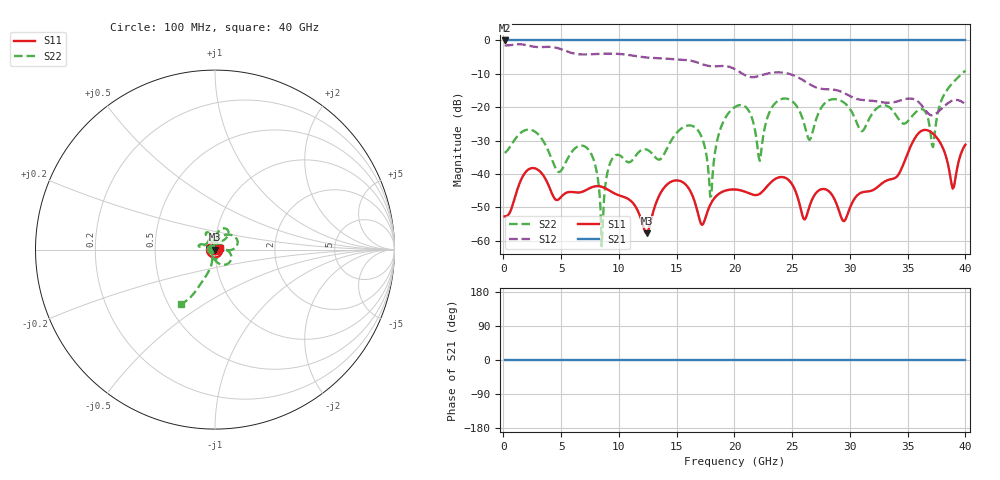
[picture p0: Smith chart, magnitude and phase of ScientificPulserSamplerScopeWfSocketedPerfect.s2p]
# MHz MA S R 50.0
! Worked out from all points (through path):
!   400 points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, 100 MHz to 40 GHz, reference 50 ohm
!   highest |S21| = 0.00 dB at 100 MHz (marker M1); lowest = 0.0 dB at 100 MHz (marker M2)
!   lowest |S11| = -57.8 dB at 12.4 GHz (marker M3), VSWR 1.00, Z = 50.1 - j0.0428 ohm
!   |S11| at or under -10 dB: start of sweep to end of sweep
!   |S22| runs from -61.7 to -9.0 dB; largest |S21 - S12| = 1.9
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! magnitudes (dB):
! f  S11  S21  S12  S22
! 100 MHz  -52.8  0.0  -1.5  -33.7
! 2.4 GHz  -38.3  0.0  -1.7  -26.8
! 4.8 GHz  -47.6  0.0  -2.4  -39.4
! 6.8 GHz  -45.4  0.0  -4.2  -31.5
! 8.1 GHz  -43.7  0.0  -4.1  -39.8
! 8.5 GHz  -43.9  0.0  -4.0  -61.7
! 9.3 GHz  -45.3  0.0  -4.0  -36.2
! 12.4 GHz  -57.8  0.0  -5.1  -32.7
! 13.4 GHz  -47.1  0.0  -5.3  -35.7
! 16.6 GHz  -48.8  0.0  -6.4  -26.1
! 17.9 GHz  -49.3  0.0  -7.7  -46.9
! 18.6 GHz  -46.1  0.0  -7.7  -28.7
! 20.1 GHz  -44.7  0.0  -8.7  -19.8
! 22.2 GHz  -46.0  0.0  -10.6  -36.1
! 23.9 GHz  -41.0  0.0  -9.6  -17.8
! 26.7 GHz  -47.9  0.0  -13.5  -28.3
! 29.5 GHz  -54.2  0.0  -15.8  -18.7
! 33.4 GHz  -41.7  0.0  -18.7  -20.0
! 36.4 GHz  -26.9  0.0  -20.3  -20.8
! 37.2 GHz  -27.9  0.0  -22.4  -32.0
! 38.9 GHz  -44.4  0.0  -18.0  -12.7
! 40 GHz  -31.2  0.0  -19.1  -9.0
